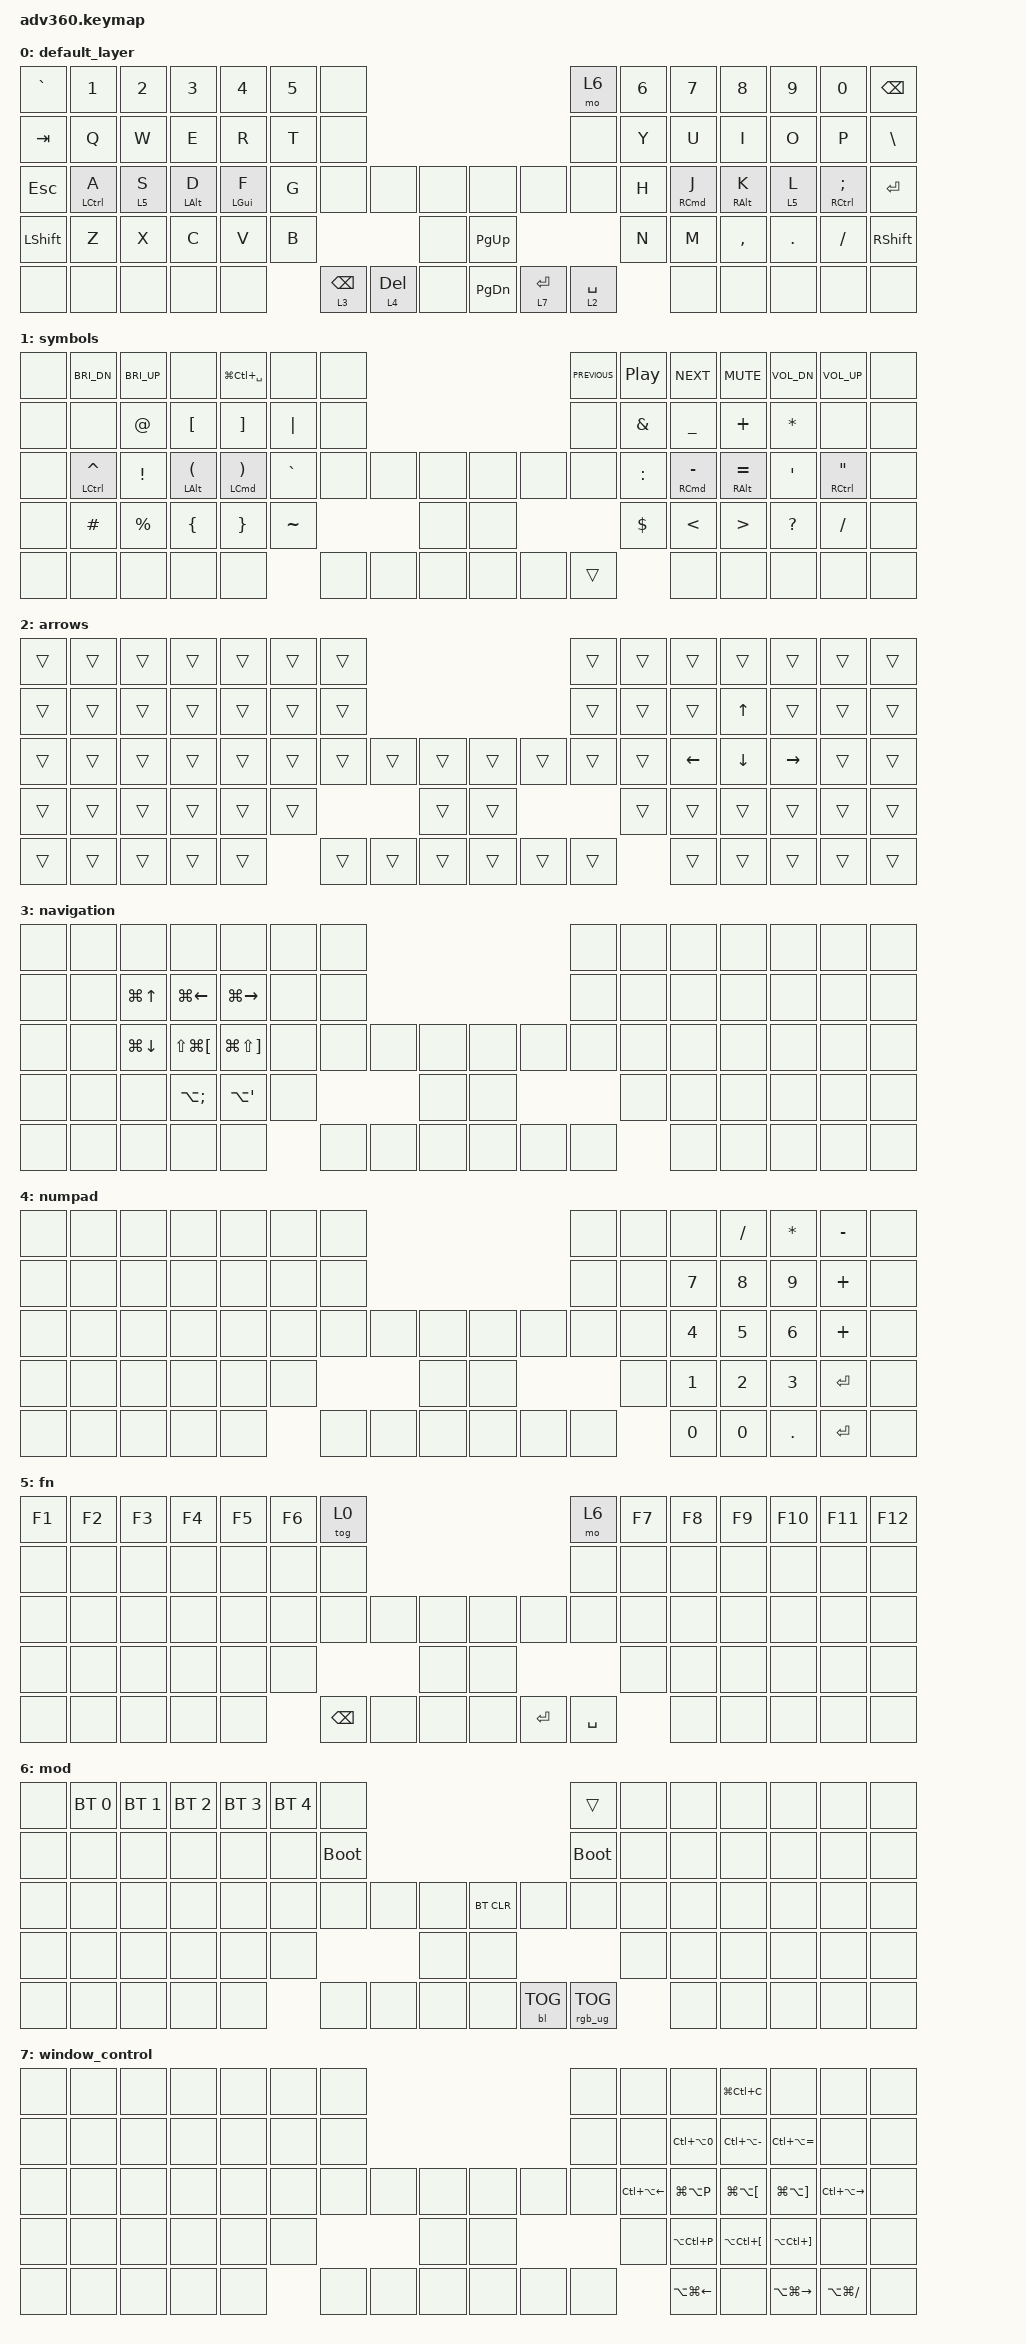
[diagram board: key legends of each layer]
#include <behaviors.dtsi>
#include <dt-bindings/zmk/backlight.h>
#include <dt-bindings/zmk/bt.h>
#include <dt-bindings/zmk/keys.h>
#include <dt-bindings/zmk/rgb.h>

/ {
    behaviors {
        #include "macros.dtsi"
      #include "version.dtsi"
      #ifndef VERSION_MACRO


        #endif

        hmr: hmr {
            compatible = "zmk,behavior-hold-tap";
            label = "HMR";
            #binding-cells = <2>;
            tapping-term-ms = <200>;
            flavor = "balanced";
            bindings = <&kp>, <&kp>;

            quick-tap-ms = <175>;
            hold-trigger-key-positions = <0 1 2 3 4 5 6 14 15 16 17 18 19 20 28 29 30 31 32 33 34 35 36 46 47 48 49 50 51 52 60 61 62 63 64 65 66 67 37 38 53 68 69 70>;
            hold-trigger-on-release;
            require-prior-idle-ms = <150>;
        };

        hml: hml {
            compatible = "zmk,behavior-hold-tap";
            label = "HML";
            #binding-cells = <2>;
            tapping-term-ms = <200>;
            flavor = "balanced";
            bindings = <&kp>, <&kp>;

            quick-tap-ms = <175>;
            hold-trigger-key-positions = <35 36 52 65 66 67 37 38 53 68 69 70 7 8 9 10 11 12 13 21 22 23 24 25 26 27 38 39 40 41 42 43 44 45 54 55 56 57 58 59 69 70 71 72 73 74 75>;
            hold-trigger-on-release;
            require-prior-idle-ms = <150>;
        };
    };

    combos { compatible = "zmk,combos"; };

    macros {
        arr_sym: arr_sym {
            compatible = "zmk,behavior-macro";
            #binding-cells = <0>;
            bindings = <&mo 3 &mo 2>;
            label = "ARR_SYM";
        };
    };

    keymap {
        compatible = "zmk,keymap";

        default_layer {
            bindings = <
&kp GRAVE  &kp N1        &kp N2   &kp N3       &kp N4       &kp N5  &none                                                                 &mo 6        &kp N6  &kp N7       &kp N8       &kp N9   &kp N0           &kp BACKSPACE
&kp TAB    &kp Q         &kp W    &kp E        &kp R        &kp T   &none                                                                 &none        &kp Y   &kp U        &kp I        &kp O    &kp P            &kp BSLH
&kp ESC    &hml LCTRL A  &lt 5 S  &hml LALT D  &hml LGUI F  &kp G   &none            &none         &none      &none          &none        &none        &kp H   &hmr RCMD J  &hmr RALT K  &lt 5 L  &hmr RCTRL SEMI  &kp ENTER
&kp LSHFT  &kp Z         &kp X    &kp C        &kp V        &kp B                                  &none      &kp PAGE_UP                              &kp N   &kp M        &kp COMMA    &kp DOT  &kp FSLH         &kp RSHFT
&none      &none         &none    &none        &none                &lt 3 BACKSPACE  &lt 4 DELETE  &none      &kp PAGE_DOWN  &lt 7 ENTER  &lt 2 SPACE          &none        &none        &none    &none            &none
            >;
        };

        symbols {
            bindings = <
&none  &kp C_BRI_DN      &kp C_BRI_UP  &none                       &kp LG(LC(SPACE))            &none      &none                                  &kp C_PREVIOUS  &kp C_PLAY_PAUSE  &kp C_NEXT       &kp C_MUTE        &kp C_VOL_DN      &kp C_VOLUME_UP           &none
&none  &none             &kp AT_SIGN   &kp LEFT_BRACKET            &kp RIGHT_BRACKET            &kp PIPE   &none                                  &none           &kp AMPERSAND     &kp UNDERSCORE   &kp PLUS          &kp ASTERISK      &none                     &none
&none  &hml LCTRL CARET  &kp EXCL      &hml LALT LEFT_PARENTHESIS  &hml LCMD RIGHT_PARENTHESIS  &kp GRAVE  &none  &none  &none      &none  &none  &none           &kp COLON         &hmr RCMD MINUS  &hmr RALT EQUAL   &kp SINGLE_QUOTE  &hmr RCTRL DOUBLE_QUOTES  &none
&none  &kp HASH          &kp PERCENT   &kp LEFT_BRACE              &kp RIGHT_BRACE              &kp TILDE                &none      &none                         &kp DOLLAR        &kp LESS_THAN    &kp GREATER_THAN  &kp QUESTION      &kp SLASH                 &none
&none  &none             &none         &none                       &none                                   &none  &none  &none      &none  &none  &trans                            &none            &none             &none             &none                     &none
            >;
        };

        arrows {
            bindings = <
&trans  &trans  &trans  &trans  &trans  &trans  &trans                                      &trans  &trans  &trans    &trans    &trans     &trans  &trans
&trans  &trans  &trans  &trans  &trans  &trans  &trans                                      &trans  &trans  &trans    &kp UP    &trans     &trans  &trans
&trans  &trans  &trans  &trans  &trans  &trans  &trans  &trans  &trans      &trans  &trans  &trans  &trans  &kp LEFT  &kp DOWN  &kp RIGHT  &trans  &trans
&trans  &trans  &trans  &trans  &trans  &trans                  &trans      &trans                  &trans  &trans    &trans    &trans     &trans  &trans
&trans  &trans  &trans  &trans  &trans          &trans  &trans  &trans      &trans  &trans  &trans          &trans    &trans    &trans     &trans  &trans
            >;
        };

        navigation {
            bindings = <
&none  &none  &none             &none              &none                      &none  &none                                  &none  &none  &none  &none  &none  &none  &none
&none  &none  &kp LG(UP_ARROW)  &kp LG(LEFT)       &kp LG(RIGHT)              &none  &none                                  &none  &none  &none  &none  &none  &none  &none
&none  &none  &kp LG(DOWN)      &kp LS(LG(LBKT))   &kp LG(LS(RIGHT_BRACKET))  &none  &none  &none  &none      &none  &none  &none  &none  &none  &none  &none  &none  &none
&none  &none  &none             &kp LA(SEMICOLON)  &kp LA(SQT)                &none                &none      &none                &none  &none  &none  &none  &none  &none
&none  &none  &none             &none              &none                             &none  &none  &none      &none  &none  &none         &none  &none  &none  &none  &none
            >;
        };

        numpad {
            bindings = <
&none  &none  &none  &none  &none  &none  &none                                  &none  &none  &none         &kp SLASH     &kp ASTERISK  &kp MINUS  &none
&none  &none  &none  &none  &none  &none  &none                                  &none  &none  &kp N7        &kp N8        &kp N9        &kp PLUS   &none
&none  &none  &none  &none  &none  &none  &none  &none  &none      &none  &none  &none  &none  &kp NUMBER_4  &kp N5        &kp NUMBER_6  &kp PLUS   &none
&none  &none  &none  &none  &none  &none                &none      &none                &none  &kp NUMBER_1  &kp NUMBER_2  &kp NUMBER_3  &kp ENTER  &none
&none  &none  &none  &none  &none         &none  &none  &none      &none  &none  &none         &kp NUMBER_0  &kp N0        &kp PERIOD    &kp ENTER  &none
            >;
        };

        fn {
            bindings = <
&kp F1  &kp F2  &kp F3  &kp F4  &kp F5  &kp F6  &tog 0                                             &mo 6      &kp F7  &kp F8  &kp F9  &kp F10  &kp F11  &kp F12
&none   &none   &none   &none   &none   &none   &none                                              &none      &none   &none   &none   &none    &none    &none
&none   &none   &none   &none   &none   &none   &none          &none  &none      &none  &none      &none      &none   &none   &none   &none    &none    &none
&none   &none   &none   &none   &none   &none                         &none      &none                        &none   &none   &none   &none    &none    &none
&none   &none   &none   &none   &none           &kp BACKSPACE  &none  &none      &none  &kp ENTER  &kp SPACE          &none   &none   &none    &none    &none
            >;
        };

        mod {
            bindings = <
&none  &bt BT_SEL 0  &bt BT_SEL 1  &bt BT_SEL 2  &bt BT_SEL 3  &bt BT_SEL 4  &none                                                  &trans           &none  &none  &none  &none  &none  &none
&none  &none         &none         &none         &none         &none         &bootloader                                            &bootloader      &none  &none  &none  &none  &none  &none
&none  &none         &none         &none         &none         &none         &none        &none  &none      &bt BT_CLR  &none       &none            &none  &none  &none  &none  &none  &none
&none  &none         &none         &none         &none         &none                             &none      &none                                    &none  &none  &none  &none  &none  &none
&none  &none         &none         &none         &none                       &none        &none  &none      &none       &bl BL_TOG  &rgb_ug RGB_TOG         &none  &none  &none  &none  &none
            >;
        };

        window_control {
            bindings = <
&none  &none  &none  &none  &none  &none  &none                                  &none  &none             &none                 &kp LG(LC(C))             &none                      &none              &none
&none  &none  &none  &none  &none  &none  &none                                  &none  &none             &kp LC(LA(NUMBER_0))  &kp LC(LA(MINUS))         &kp LC(LA(EQUAL))          &none              &none
&none  &none  &none  &none  &none  &none  &none  &none  &none      &none  &none  &none  &kp LC(LA(LEFT))  &kp LG(LA(P))         &kp LG(LA(LEFT_BRACKET))  &kp LG(LA(RIGHT_BRACKET))  &kp LC(LA(RIGHT))  &none
&none  &none  &none  &none  &none  &none                &none      &none                &none             &kp LA(LC(P))         &kp LA(LC(LEFT_BRACKET))  &kp LA(LC(RIGHT_BRACKET))  &none              &none
&none  &none  &none  &none  &none         &none  &none  &none      &none  &none  &none                    &kp LA(LG(LEFT))      &none                     &kp LA(LG(RIGHT))          &kp LA(LG(SLASH))  &none
            >;
        };
    };

    conditional_layers { compatible = "zmk,conditional-layers"; };
};
